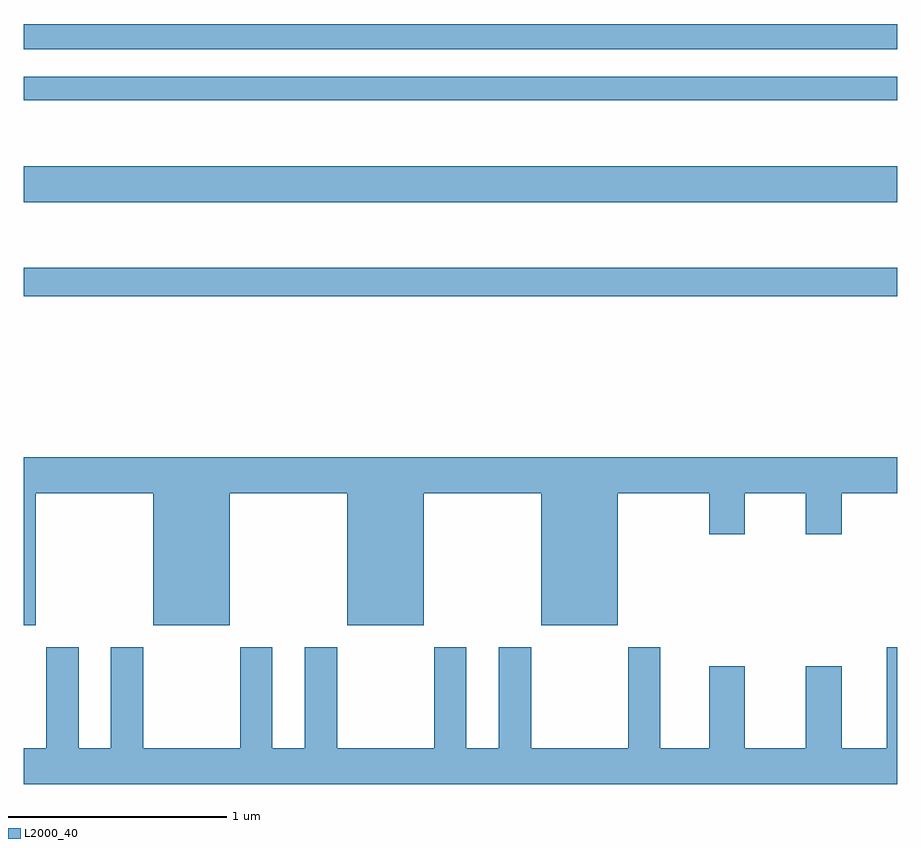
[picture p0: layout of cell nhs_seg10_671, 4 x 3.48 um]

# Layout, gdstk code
import gdstk
lib = gdstk.Library(unit=1e-6, precision=1e-09)
def R(c, l, rs):  # rectangles x0, y0, x1, y1
    for r in rs: c.add(gdstk.rectangle(r[:2], r[2:], *l))
def P(c, l, *ps):  # polygons
    for p in ps: c.add(gdstk.Polygon(p, *l))
L2000_40 = (2000, 40)

nhs_seg10_671 = lib.new_cell('nhs_seg10_671')
R(nhs_seg10_671, L2000_40, [(143,1329.19,147,1329.319), (143,1329.62,147,1329.784), (143,1330.086,147,1330.194), (143,1330.32,147,1330.436)])
P(nhs_seg10_671, L2000_40, [(143.056,1328.288),(143.594,1328.288),(143.594,1327.682),(143.944,1327.682),(143.944,1328.288),(144.482,1328.288),(144.482,1327.682),(144.832,1327.682),(144.832,1328.288),(145.37,1328.288),(145.37,1327.682),(145.72,1327.682),(145.72,1328.288),(146.138,1328.288),(146.138,1328.1),(146.302,1328.1),(146.302,1328.288),(146.582,1328.288),(146.582,1328.1),(146.746,1328.1),(146.746,1328.288),(147,1328.288),(147,1328.452),(143,1328.452),(143,1327.682),(143.056,1327.682)],
  [(147,1327.582),(146.951,1327.582),(146.951,1327.12),(146.746,1327.12),(146.746,1327.495),(146.582,1327.495),(146.582,1327.12),(146.302,1327.12),(146.302,1327.495),(146.138,1327.495),(146.138,1327.12),(145.915,1327.12),(145.915,1327.582),(145.768,1327.582),(145.768,1327.12),(145.323,1327.12),(145.323,1327.582),(145.175,1327.582),(145.175,1327.12),(145.027,1327.12),(145.027,1327.582),(144.88,1327.582),(144.88,1327.12),(144.435,1327.12),(144.435,1327.582),(144.287,1327.582),(144.287,1327.12),(144.139,1327.12),(144.139,1327.582),(143.992,1327.582),(143.992,1327.12),(143.547,1327.12),(143.547,1327.582),(143.399,1327.582),(143.399,1327.12),(143.251,1327.12),(143.251,1327.582),(143.104,1327.582),(143.104,1327.12),(143,1327.12),(143,1326.956),(147,1326.956)])

lib.write_gds('nhs_seg10_671.gds')
